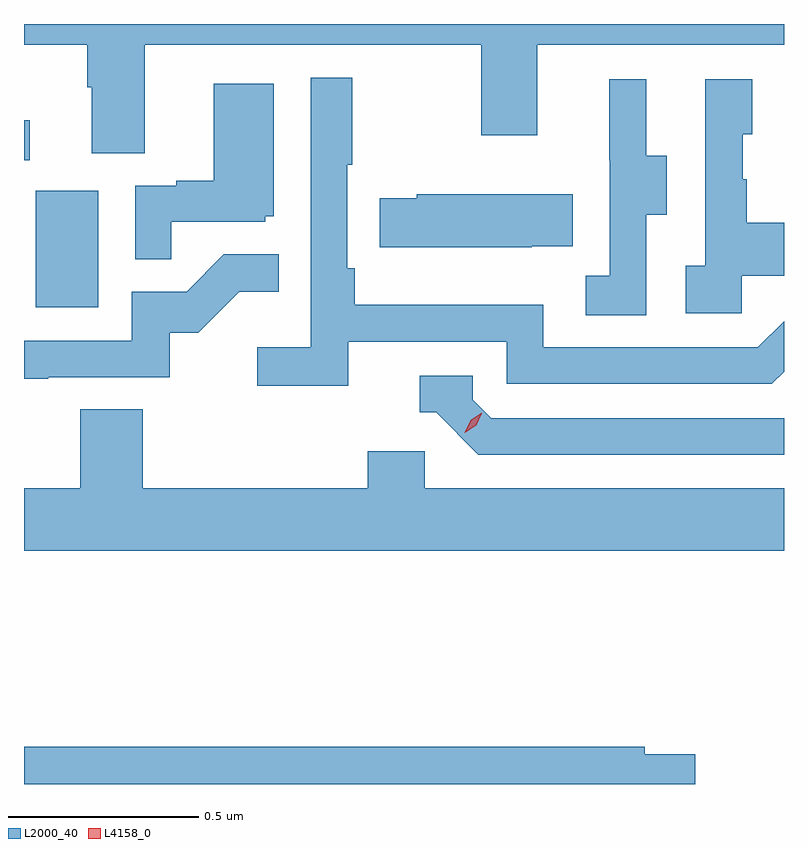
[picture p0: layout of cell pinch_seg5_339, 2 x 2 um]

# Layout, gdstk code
import gdstk
lib = gdstk.Library(unit=1e-6, precision=1e-09)
def R(c, l, rs):  # rectangles x0, y0, x1, y1
    for r in rs: c.add(gdstk.rectangle(r[:2], r[2:], *l))
def P(c, l, *ps):  # polygons
    for p in ps: c.add(gdstk.Polygon(p, *l))
L2000_40 = (2000, 40)
L4158_0 = (4158, 0)

pinch_seg5_339 = lib.new_cell('pinch_seg5_339')
R(pinch_seg5_339, L2000_40, [(922.784,877.38,922.948,877.687), (922.753,877.767,922.768,877.873)])
P(pinch_seg5_339, L2000_40, [(923.071,878.072),(923.956,878.072),(923.956,877.833),(924.103,877.833),(924.103,878.072),(924.753,878.072),(924.753,878.126),(922.753,878.126),(922.753,878.072),(922.919,878.072),(922.919,877.96),(922.931,877.96),(922.931,877.786),(923.071,877.786)],
  [(923.606,877.29),(924.024,877.29),(924.024,877.179),(924.721,877.179),(924.753,877.211),(924.753,877.344),(924.684,877.275),(924.12,877.275),(924.12,877.387),(923.624,877.387),(923.624,877.483),(923.604,877.483),(923.604,877.756),(923.617,877.756),(923.617,877.984),(923.508,877.984),(923.508,877.276),(923.367,877.276),(923.367,877.174),(923.606,877.174)],
  [(924.39,877.624),(924.445,877.624),(924.445,877.779),(924.391,877.779),(924.391,877.981),(924.293,877.981),(924.293,877.767),(924.294,877.767),(924.294,877.463),(924.231,877.463),(924.231,877.36),(924.39,877.36)],
  [(924.642,877.463),(924.753,877.463),(924.753,877.603),(924.655,877.603),(924.655,877.718),(924.645,877.718),(924.645,877.836),(924.67,877.836),(924.67,877.981),(924.546,877.981),(924.546,877.49),(924.495,877.49),(924.495,877.365),(924.642,877.365)],
  [(923.141,877.605),(923.388,877.605),(923.388,877.62),(923.41,877.62),(923.41,877.969),(923.252,877.969),(923.252,877.714),(923.153,877.714),(923.153,877.701),(923.046,877.701),(923.046,877.507),(923.141,877.507)],
  [(924.089,877.541),(924.197,877.541),(924.197,877.678),(923.787,877.678),(923.787,877.668),(923.689,877.668),(923.689,877.538),(924.089,877.538)],
  [(922.817,877.197),(923.136,877.197),(923.136,877.314),(923.212,877.314),(923.319,877.421),(923.423,877.421),(923.423,877.52),(923.279,877.52),(923.181,877.422),(923.037,877.422),(923.037,877.293),(922.753,877.293),(922.753,877.192),(922.817,877.192)],
  [(924.753,877.089),(923.982,877.089),(923.934,877.137),(923.934,877.2),(923.795,877.2),(923.795,877.104),(923.838,877.104),(923.949,876.993),(924.753,876.993)],
  [(924.753,876.904),(923.808,876.904),(923.808,877.002),(923.657,877.002),(923.657,876.904),(923.066,876.904),(923.066,877.112),(922.901,877.112),(922.901,876.904),(922.753,876.904),(922.753,876.74),(924.753,876.74)],
  [(924.52,876.204),(924.386,876.204),(924.386,876.224),(922.753,876.224),(922.753,876.126),(924.52,876.126)])
P(pinch_seg5_339, L4158_0, [(923.913,877.05),(923.913,877.05),(923.928,877.083),(923.958,877.103),(923.958,877.103),(923.958,877.102),(923.943,877.07),(923.913,877.05)])

lib.write_gds('pinch_seg5_339.gds')
